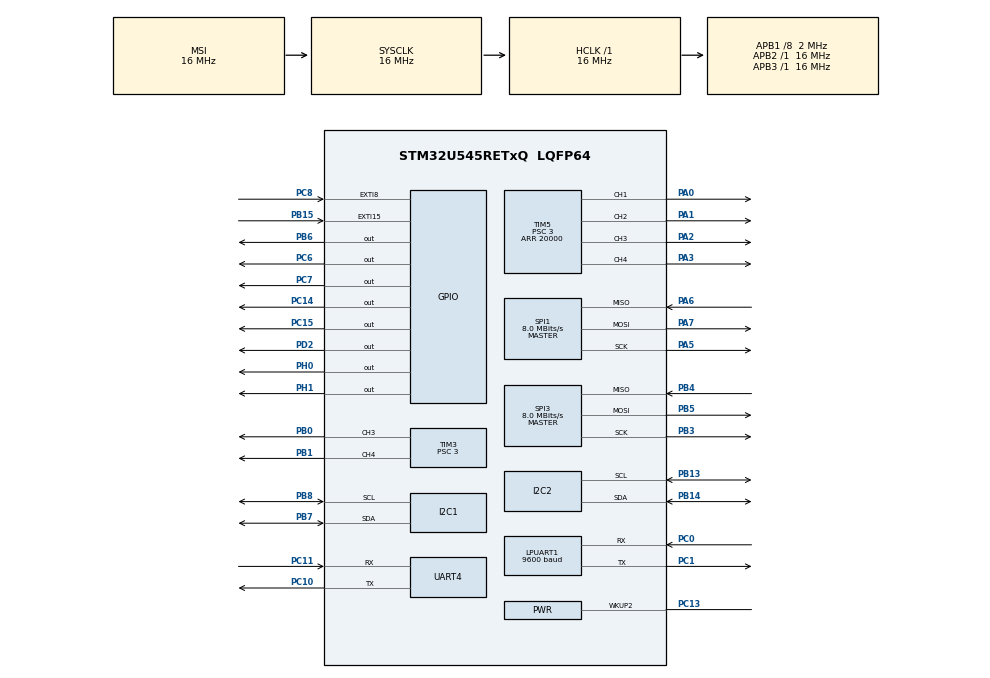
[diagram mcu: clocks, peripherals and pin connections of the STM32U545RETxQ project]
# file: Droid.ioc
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CORTEX_M33_NS.userName=CORTEX_M33
I2C1.Timing=0x00000509
I2C2.Timing=0x00000509
LPUART1.BaudRate=9600
Mcu.Family=STM32U5
Mcu.Name=STM32U545RETxQ
Mcu.Package=LQFP64
NVIC.PriorityGroup=NVIC_PRIORITYGROUP_4
PA0.Signal=S_TIM5_CH1
PA1.Signal=S_TIM5_CH2
PA13\ (JTMS/SWDIO).Mode=Serial_Wire
PA13\ (JTMS/SWDIO).Signal=DEBUG_JTMS-SWDIO
PA14\ (JTCK/SWCLK).Mode=Serial_Wire
PA14\ (JTCK/SWCLK).Signal=DEBUG_JTCK-SWCLK
PA2.Signal=S_TIM5_CH3
PA3.Signal=S_TIM5_CH4
PA5.Mode=Full_Duplex_Master
PA5.Signal=SPI1_SCK
PA6.Mode=Full_Duplex_Master
PA6.Signal=SPI1_MISO
PA7.Mode=Full_Duplex_Master
PA7.Signal=SPI1_MOSI
PB0.Signal=S_TIM3_CH3
PB1.Signal=S_TIM3_CH4
PB13.Mode=I2C
PB13.Signal=I2C2_SCL
PB14.Mode=I2C
PB14.Signal=I2C2_SDA
PB15.Signal=GPXTI15
PB3\ (JTDO/TRACESWO).Mode=Full_Duplex_Master
PB3\ (JTDO/TRACESWO).Signal=SPI3_SCK
PB4\ (NJTRST).Mode=Full_Duplex_Master
PB4\ (NJTRST).Signal=SPI3_MISO
PB5.Mode=Full_Duplex_Master
PB5.Signal=SPI3_MOSI
PB6.GPIO_PuPd=GPIO_PULLUP
PB6.PinState=GPIO_PIN_SET
PB6.Signal=GPIO_Output
PB7.Mode=I2C
PB7.Signal=I2C1_SDA
PB8.Mode=I2C
PB8.Signal=I2C1_SCL
PC0.Mode=Asynchronous
PC0.Signal=LPUART1_RX
PC1.Mode=Asynchronous
PC1.Signal=LPUART1_TX
PC10.Mode=Asynchronous
PC10.Signal=UART4_TX
PC11.Mode=Asynchronous
PC11.Signal=UART4_RX
PC13.Mode=WakeUp2
PC13.Signal=PWR_WKUP2
PC14-OSC32_IN\ (PC14).Signal=GPIO_Output
PC15-OSC32_OUT\ (PC15).Signal=GPIO_Output
PC6.GPIO_PuPd=GPIO_NOPULL
PC6.PinState=GPIO_PIN_RESET
PC6.Signal=GPIO_Output
PC7.GPIO_ModeDefaultOutputPP=GPIO_MODE_OUTPUT_PP
PC7.GPIO_PuPd=GPIO_PULLUP
PC7.PinState=GPIO_PIN_RESET
PC7.Signal=GPIO_Output
PC8.Signal=GPXTI8
PD2.GPIO_PuPd=GPIO_PULLUP
PD2.PinState=GPIO_PIN_SET
PD2.Signal=GPIO_Output
PH0-OSC_IN\ (PH0).Signal=GPIO_Output
PH1-OSC_OUT\ (PH1).Signal=GPIO_Output
PWR.PowerMode=PWR_LDO_SUPPLY
ProjectManager.HeapSize=0x200
ProjectManager.StackSize=0x400
ProjectManager.TargetToolchain=STM32CubeIDE
RCC.ADCFreq_Value=16000000
RCC.AHBFreq_Value=16000000
RCC.APB1CLKDivider=RCC_HCLK_DIV8
RCC.APB1Freq_Value=2000000
RCC.APB1TimFreq_Value=4000000
RCC.APB2Freq_Value=16000000
RCC.APB2TimCLKDivider=2
RCC.APB2TimFreq_Value=32000000
RCC.APB3Freq_Value=16000000
RCC.CortexFreq_Value=16000000
RCC.DACCLockSelectionVirtual=RCC_DAC1CLKSOURCE_LSI
RCC.DACCLockSelectionVirtualString=RCC_DAC1CLKSOURCE_LSI
RCC.EPOD_VALUE=16000000
RCC.HCLKFreq_Value=16000000
RCC.HSE_VALUE=16000000
RCC.HSI48_VALUE=48000000
RCC.HSI_VALUE=16000000
RCC.LSE_VALUE=32768
RCC.LSIDIV_VALUE=32000
RCC.MSIClockRange=RCC_MSIRANGE_2
RCC.MSI_VALUE=16000000
RCC.PLLN=80
RCC.SYSCLKFreq_VALUE=16000000
RCC.USBFreq_Value=48000000
RCC.VCOOutputFreq_Value=1280000000
SH.S_TIM3_CH3.0=TIM3_CH3,PWM Generation3 CH3
SH.S_TIM3_CH4.0=TIM3_CH4,PWM Generation4 CH4
SH.S_TIM5_CH1.0=TIM5_CH1,PWM Generation1 CH1
SH.S_TIM5_CH2.0=TIM5_CH2,PWM Generation2 CH2
SH.S_TIM5_CH3.0=TIM5_CH3,PWM Generation3 CH3
SH.S_TIM5_CH4.0=TIM5_CH4,PWM Generation4 CH4
SPI1.CalculateBaudRate=8.0 MBits/s
SPI1.DataSize=SPI_DATASIZE_8BIT
SPI1.Direction=SPI_DIRECTION_2LINES
SPI1.Mode=SPI_MODE_MASTER
SPI1.VirtualType=VM_MASTER
SPI3.CalculateBaudRate=8.0 MBits/s
SPI3.Direction=SPI_DIRECTION_2LINES
SPI3.Mode=SPI_MODE_MASTER
SPI3.VirtualType=VM_MASTER
TIM3.Channel-PWM\ Generation3\ CH3=TIM_CHANNEL_3
TIM3.Channel-PWM\ Generation4\ CH4=TIM_CHANNEL_4
TIM3.PeriodNoDither=20000
TIM3.Prescaler=3
TIM5.Channel-PWM\ Generation1\ CH1=TIM_CHANNEL_1
TIM5.Channel-PWM\ Generation2\ CH2=TIM_CHANNEL_2
TIM5.Channel-PWM\ Generation3\ CH3=TIM_CHANNEL_3
TIM5.Channel-PWM\ Generation4\ CH4=TIM_CHANNEL_4
TIM5.PeriodNoDither=20000
TIM5.Prescaler=3
VP_LPBAMQUEUE_VS_QUEUE.Mode=QUEUEMODE
VP_LPBAM_VS_SIG1.Mode=SmartRun
VP_LPBAM_VS_SIG4.Mode=LPDMA1
VP_MEMORYMAP_VS_MEMORYMAP.Mode=CurAppReg
VP_PWR_VS_LPOM.Mode=PowerOptimisation
VP_PWR_VS_SECSignals.Mode=Security/Privilege
VP_TIM3_VS_ClockSourceINT.Mode=Internal
VP_TIM5_VS_ClockSourceINT.Mode=Internal
board=custom

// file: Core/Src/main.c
/* USER CODE BEGIN Header */
/**
 ******************************************************************************
 * @file           : main.c
 * @brief          : Main program body
 ******************************************************************************
 * @attention
 *
 * Copyright (c) 2025 STMicroelectronics.
 * All rights reserved.
 *
 * This software is licensed under terms that can be found in the LICENSE file
 * in the root directory of this software component.
 * If no LICENSE file comes with this software, it is provided AS-IS.
 *
 ******************************************************************************
 */
/* USER CODE END Header */
#include "main.h"

/* USER CODE BEGIN Includes */
#include "stdio.h"

// Distance sensor
#include "../../Drivers/BSP/Components/vl53l1x_uld/VL53L1X_api.h"
#include "../../Drivers/BSP/Components/vl53l1x_uld/VL53L1X_calibration.h"

// IMU
#include "math.h"
#include "string.h"
#include "stdio.h"
#include "Accel.h"
#include "Gyro.h"
#include "IMU.h"
#include "Vectors.h"
/* USER CODE END Includes */

/* USER CODE BEGIN PM */
// NOTE: isInterrupt = 1 then device is working in interrupt mode, otherwise it is working in polling mode
#define isInterrupt 0

// NOTE: isInterrupt = 1 then device is working in interrupt mode, otherwise it is working in polling mode
#define isInterrupt 0
#define MAX_FORCE 	2.0f
#define MAX_DUTY	8.0f
#define MIN_DUTY	5.0f
#define ACCEL_DEADZONE  0.1f  // m/s² - tune to reduce drift
#define MIN(a,b) ((a) < (b) ? (a) : (b))
#define MAX(a,b) ((a) > (b) ? (a) : (b))
/* USER CODE END PM */

I2C_HandleTypeDef hi2c1;
I2C_HandleTypeDef hi2c2;

UART_HandleTypeDef hlpuart1;
UART_HandleTypeDef huart4;

SPI_HandleTypeDef hspi1;
SPI_HandleTypeDef hspi3;

TIM_HandleTypeDef htim3;
TIM_HandleTypeDef htim5;

/* USER CODE BEGIN PV */
uint16_t distance2_address = 0x52; // surface mounted distance sensor
uint16_t distance1_address = (0x30 << 1); // external distance sensor
int status = 0;
const int max_CCR = 20000;

uint8_t xb[3];
float KP = 2.0;
float KI = 0.0;
float KD = 0.0;
int recalibrate = 0;
/* USER CODE END PV */

void SystemClock_Config(void);
static void MX_GPIO_Init(void);
static void MX_I2C2_Init(void);
static void MX_LPUART1_UART_Init(void);
static void MX_I2C1_Init(void);
static void MX_UART4_Init(void);
static void MX_SPI1_Init(void);
static void MX_SPI3_Init(void);
static void MX_TIM3_Init(void);
static void MX_TIM5_Init(void);
/* USER CODE BEGIN PFP */
void Error_Handler(void);
// TODO: add these functions!
//void RangingLoop(void); /* */
//void Multizones(void);

float applyAccelDeadzone(float accel, float deadzone) {
	if (fabsf(accel) < deadzone) {
		return 0.0f;
	}
	return accel;
}

void assignMotorValues(float Fx_d, float Fy_d, float *m1, float *m2, float *m3,
		float *m4) {
	*m1 = 0;
	*m2 = 0;
	*m3 = 0;
	*m4 = 0;

	// X-axis control: motors 1,3 vs 2,4
	if (Fx_d > 0) {
		*m1 += fabsf(Fx_d);
		*m3 += fabsf(Fx_d);
	} else {
		*m2 += fabsf(Fx_d);
		*m4 += fabsf(Fx_d);
	}

	// Y-axis control: motors 1,2 vs 3,4
	if (Fy_d > 0) {
		*m1 += fabsf(Fy_d);
		*m2 += fabsf(Fy_d);
	} else {
		*m3 += fabsf(Fy_d);
		*m4 += fabsf(Fy_d);
	}

	// Torque balancing: ensure diagonal pairs produce equal torque
	float T = *m1 + *m4 - *m2 - *m3;
	if (T > 0) {
		// Too much CCW torque, increase m2 and m3
		*m2 += fabsf(T) / 2.0f;
		*m3 += fabsf(T) / 2.0f;
	} else if (T < 0) {
		// Too much CW torque, increase m1 and m4
		*m1 += fabsf(T) / 2.0f;
		*m4 += fabsf(T) / 2.0f;
	}

	// Convert force to duty cycle
	float scale = (MAX_DUTY - MIN_DUTY) / MAX_FORCE;
	*m1 = *m1 * scale + MIN_DUTY;
	*m2 = *m2 * scale + MIN_DUTY;
	*m3 = *m3 * scale + MIN_DUTY;
	*m4 = *m4 * scale + MIN_DUTY;

	// Clamp to valid range
	*m1 = MAX(MIN_DUTY, MIN(*m1, MAX_DUTY));
	*m2 = MAX(MIN_DUTY, MIN(*m2, MAX_DUTY));
	*m3 = MAX(MIN_DUTY, MIN(*m3, MAX_DUTY));
	*m4 = MAX(MIN_DUTY, MIN(*m4, MAX_DUTY));
}

void TIM_SetPWM(float m1, float m2, float m3, float m4) {
	__HAL_TIM_SET_COMPARE(&htim5, TIM_CHANNEL_1, max_CCR * 0.01 * m1);
	__HAL_TIM_SET_COMPARE(&htim5, TIM_CHANNEL_2, max_CCR * 0.01 * m2);
	__HAL_TIM_SET_COMPARE(&htim5, TIM_CHANNEL_3, max_CCR * 0.01 * m3);
	__HAL_TIM_SET_COMPARE(&htim5, TIM_CHANNEL_4, max_CCR * 0.01 * m4);
}
/* USER CODE END PFP */

/* USER CODE BEGIN 0 */
uint8_t err[] = { 'e', 'r', 'r', 'o', 'r', '\n', '\r' };

/* Those basic I2C read functions can be used to check your own I2C functions */
void print_distance_sensor_metadata(uint16_t dev_address) {
	uint8_t byteData;
	uint16_t wordData;
	status = VL53L1_RdByte(dev_address, 0x010F, &byteData);
	printf("VL53L1X Model_ID: %X\n", byteData);
	status = VL53L1_RdByte(dev_address, 0x0110, &byteData);
	printf("VL53L1X Module_Type: %X\n", byteData);
	status = VL53L1_RdWord(dev_address, 0x010F, &wordData);
	printf("VL53L1X: %X\n", wordData);
}

void start_distance_sensor(uint16_t dev_address) {
	uint8_t sensorState = 0;
	while (sensorState == 0) {
		status = VL53L1X_BootState(dev_address, &sensorState);
		HAL_Delay(2);
	}
	printf("Distance sensor with address %d booted\n", dev_address);

	/* This function must to be called to initialize the sensor with the default setting  */
	status = VL53L1X_SensorInit(dev_address);
	/* Optional functions to be used to change the main ranging parameters according the application requirements to get the best ranging performances */
	status = VL53L1X_SetDistanceMode(dev_address, 2); /* 1=short, 2=long */
	status = VL53L1X_SetTimingBudgetInMs(dev_address, 100); /* in ms possible values [20, 50, 100, 200, 500] */
	status = VL53L1X_SetInterMeasurementInMs(dev_address, 100); /* in ms, IM must be > = TB */
	status = VL53L1X_SetInterruptPolarity(dev_address, 0); //This function programs the interrupt polarity, 1 = active high (default), 0 = active low.
	//  status = VL53L1X_SetOffset(dev_address,20); /* offset compensation in mm */
	//  status = VL53L1X_SetROI(dev_address, 16, 16); /* minimum ROI 4,4 */

	//	status = VL53L1X_CalibrateOffset(dev_address, 140, &offset); /* may take few second to perform the offset cal*/
	//  printf("VL53L1X_CalibrateOffset=%d\n", offset);
	//  status = VL53L1X_CalibrateXtalk(dev_address, 1000, &xtalk); /* may take few second to perform the xtalk cal */
	//  printf("VL53L1X_CalibrateXtalk=%d\n", xtalk/512);
	printf("VL53L1X Ultra Lite Driver Example running ...\n");

	status = VL53L1X_StartRanging(dev_address); /* This function has to be called to enable the ranging */
//	END OF DISTANCE SENSOR SETUP
}

/* USER CODE END 0 */

int main(void) {

	/* USER CODE BEGIN 1 */
	uint16_t Distance;
	uint8_t RangeStatus;
	uint8_t dataReady = 0;
	uint16_t timeout_counter = 0;
	/* USER CODE END 1 */

	/* MCU Configuration--------------------------------------------------------*/

	/* Reset of all peripherals, Initializes the Flash interface and the Systick. */
	HAL_Init();

	/* Configure the system clock */
	SystemClock_Config();

	/* Initialize all configured peripherals */
	MX_GPIO_Init();
	MX_I2C2_Init();
	MX_LPUART1_UART_Init();
	MX_I2C1_Init();
	MX_UART4_Init();
	MX_SPI1_Init();
	MX_SPI3_Init();
	MX_TIM3_Init();
	MX_TIM5_Init();

	/* USER CODE BEGIN 2 */

	//  Setup the servos
	__HAL_TIM_SET_COMPARE(&htim3, TIM_CHANNEL_3, max_CCR * 0.03);
	__HAL_TIM_SET_COMPARE(&htim3, TIM_CHANNEL_4, max_CCR * 0.03);

	HAL_TIM_PWM_Start(&htim3, TIM_CHANNEL_3);
	HAL_TIM_PWM_Start(&htim3, TIM_CHANNEL_4);

	// Arm the ESC (send low signal)
	__HAL_TIM_SET_COMPARE(&htim5, TIM_CHANNEL_1, max_CCR * 0.05);
	__HAL_TIM_SET_COMPARE(&htim5, TIM_CHANNEL_2, max_CCR * 0.05);
	__HAL_TIM_SET_COMPARE(&htim5, TIM_CHANNEL_3, max_CCR * 0.05);
	__HAL_TIM_SET_COMPARE(&htim5, TIM_CHANNEL_4, max_CCR * 0.05);

	HAL_TIM_PWM_Start(&htim5, TIM_CHANNEL_1);
	HAL_TIM_PWM_Start(&htim5, TIM_CHANNEL_2);
	HAL_TIM_PWM_Start(&htim5, TIM_CHANNEL_3);
	HAL_TIM_PWM_Start(&htim5, TIM_CHANNEL_4);
	HAL_Delay(5000);

//	START OF IMU SETUP
	IMU_INIT(&hspi3);
	IMU_SETUP_FOR_LOGGING();
	IMU_ENABLE_ALL();

	HAL_Delay(3000);

	int imuready = IMU_READY();
	while (imuready != 1) {
		imuready = IMU_READY();
//		HAL_UART_Transmit(&hlpuart1, err, 7, 1000);
		HAL_Delay(5000);
	}

	struct Vector3 xyz_a;
	struct Vector3 xyz_v;
	xyz_v.x = 0;
	xyz_v.y = 0;
	xyz_v.z = 0;
	struct Vector3 xyz_p;
	xyz_p.x = 0;
	xyz_p.y = 0;
	xyz_p.z = 0;

	struct Vector3 rpy_v;
	struct Vector3 rpy_p;
	rpy_p.x = 0;
	rpy_p.y = 0;
	rpy_p.z = 0;

	struct Vector3 xyz_ground;
	xyz_ground.x = 0;
	xyz_ground.y = 0;
	xyz_ground.z = 0;

//	Calibrate ground reference (should 9.81 m/s^2 in Z when stationary)
	for (int i = 0; i < 5; i++) {
		xyz_a = ACCEL_READ_ACCELERATION();
		xyz_ground.x += xyz_a.x / 5;
		xyz_ground.y += xyz_a.y / 5;
		xyz_ground.z += xyz_a.z / 5;
		HAL_Delay(5);
	}

	float cr, sr, cp, sp, cy, sy;
	float aX, aY, aZ;

	float error_x = 0;
	float error_y = 0;
	float prev_accel_x = 0;
	float prev_accel_y = 0;
	float Fx_d, Fy_d;
	float m1, m2, m3, m4;

	uint32_t lastIMU = HAL_GetTick();
	uint32_t lastDist = HAL_GetTick();
	HAL_UART_Receive_IT(&hlpuart1, &xb, 3);
//  END OF IMU SETUP

//	  START OF DISTANCE SENSOR SETUP
//    Start up the external distance sensor with a different I2C address
	HAL_GPIO_WritePin(GPIOC, GPIO_PIN_6, GPIO_PIN_SET);
	status = VL53L1_WrByte(0x52, 0x0001, 0x30);
	//	start up secondary/surface mounted distance sensor with the default I2C address
	HAL_GPIO_WritePin(GPIOC, GPIO_PIN_7, GPIO_PIN_SET);
//	print_distance_sensor_metadata(distance1_address);
//	print_distance_sensor_metadata(distance2_address);
	start_distance_sensor(distance1_address);
	start_distance_sensor(distance2_address);
	/* USER CODE END 2 */

	/* Infinite loop */
	while (1) {

		/* USER CODE BEGIN 3 */
		uint32_t now = HAL_GetTick();

		//		uint32_t now = HAL_GetTick();
		//		if (recalibrate) {
		//			xyz_ground.x = 0;
		//			xyz_ground.y = 0;
		//			xyz_ground.z = 0;
		//			for (int i = 0; i < 5; i++) {
		//				xyz_a = ACCEL_READ_ACCELERATION();
		//				xyz_ground.x += xyz_a.x / 5.0f;
		//				xyz_ground.y += xyz_a.y / 5.0f;
		//				xyz_ground.z += xyz_a.z / 5.0f;
		//				HAL_Delay(5);
		//			}
		//			recalibrate = 0;
		//		}
		//		//		START OF DISTANCE SENSOR READ
		////		if ((now - lastDist) >= 1000) {
		////			lastDist = now;
		////			while (dataReady == 0) {
		////
		////				status = VL53L1X_CheckForDataReady(dev, &dataReady);
		////				timeout_counter++;
		////				if (timeout_counter >= 1000) {
		////					status = (uint8_t) VL53L1X_ERROR_TIMEOUT;
		////					//			  printf("No data ready for long time, please check your system\n");
		////					char buffer[3] = { 'e', 'r', '\n' };
		////					HAL_UART_Transmit(&hlpuart1, &buffer, 3, 0xFFFF);
		////					timeout_counter = 0;
		////				}
		////				status = VL53L1_WaitMs(dev, 1);
		////			}
		////			dataReady = 0;
		////			timeout_counter = 0;
		////
		////			status = VL53L1X_GetRangeStatus(dev, &RangeStatus);
		////			status = VL53L1X_GetDistance(dev, &Distance);
		////			status = VL53L1X_GetSignalRate(dev, &SignalRate);
		////			status = VL53L1X_GetAmbientRate(dev, &AmbientRate);
		////			status = VL53L1X_GetSpadNb(dev, &SpadNum);
		////			status = VL53L1X_ClearInterrupt(dev); /* clear interrupt has to be called to enable next interrupt*/
		////			uint8_t dist[3] = { 'A', (Distance >> 8), Distance & 0xFF };
		////			// char dist[50];
		////			// sprintf(dist, "A, %u \n",Distance);
		////			//		printf("Range status: %u, Distance: %u mm\n", RangeStatus, Distance);
		////			// HAL_UART_Transmit(&hlpuart1, dist, strlen(dist), 0xFFFF);
		////			HAL_UART_Transmit(&hlpuart1, dist, 3, 0xFFFF);
		////		}
		//		//		END OF DISTANCE SENSOR READ
		//
		//		//		START OF IMU READ
		//		float dt = (now - lastIMU) / 1000.0f;
		//		lastIMU = now;
		//
		//		// Read sensor data
		//		xyz_a = ACCEL_READ_ACCELERATION();
		//
		//		// Remove ground reference bias
		//		xyz_a = vSub(xyz_a, xyz_ground);
		//
		//		// Apply deadzone to accelerations (in droid frame)
		//		float accel_x = applyAccelDeadzone(xyz_a.x, ACCEL_DEADZONE);
		//		float accel_y = applyAccelDeadzone(xyz_a.y, ACCEL_DEADZONE);
		//
		//		// Accumulate error for integral term
		//		error_x += accel_x * dt;
		//		error_y += accel_y * dt;
		//
		//		// Calculate derivative of acceleration (jerk)
		//		float accel_dot_x = (accel_x - prev_accel_x) / dt;
		//		float accel_dot_y = (accel_y - prev_accel_y) / dt;
		//		prev_accel_x = accel_x;
		//		prev_accel_y = accel_y;
		//
		//		// PID control: directly counteract acceleration in droid frame
		//		// Negative sign because we want to oppose the acceleration
		//		Fx_d = -(KP * accel_x + KI * error_x + KD * accel_dot_x);
		//		Fy_d = -(KP * accel_y + KI * error_y + KD * accel_dot_y);
		//
		//		// Clamp forces to maximum
		//		float F_total = sqrtf(Fx_d * Fx_d + Fy_d * Fy_d);
		//		if (F_total > MAX_FORCE) {
		//			float scale = MAX_FORCE / F_total;
		//			Fx_d *= scale;
		//			Fy_d *= scale;
		//		}
		//
		//		// Assign motor values and set PWM
		//		assignMotorValues(Fx_d, Fy_d, &m1, &m2, &m3, &m4);
		//		TIM_SetPWM(m1, m2, m3, m4);
		//
		//		//		END OF IMU READ
		//
		//		HAL_Delay(5);
		TIM_SetPWM(5.5, 5.5, 5.5, 5.5);  // Constant low throttle
		HAL_Delay(10);
//		END OF IMU READ

	}
	/* USER CODE END 3 */
}

void SystemClock_Config(void) {
	RCC_OscInitTypeDef RCC_OscInitStruct = { 0 };
	RCC_ClkInitTypeDef RCC_ClkInitStruct = { 0 };

	/** Configure the main internal regulator output voltage
	 */
	if (HAL_PWREx_ControlVoltageScaling(PWR_REGULATOR_VOLTAGE_SCALE4)
			!= HAL_OK) {
		Error_Handler();
	}

	/** Initializes the CPU, AHB and APB buses clocks
	 */
	RCC_OscInitStruct.OscillatorType = RCC_OSCILLATORTYPE_MSI;
	RCC_OscInitStruct.MSIState = RCC_MSI_ON;
	RCC_OscInitStruct.MSICalibrationValue = RCC_MSICALIBRATION_DEFAULT;
	RCC_OscInitStruct.MSIClockRange = RCC_MSIRANGE_2;
	RCC_OscInitStruct.PLL.PLLState = RCC_PLL_NONE;
	if (HAL_RCC_OscConfig(&RCC_OscInitStruct) != HAL_OK) {
		Error_Handler();
	}

	/** Initializes the CPU, AHB and APB buses clocks
	 */
	RCC_ClkInitStruct.ClockType = RCC_CLOCKTYPE_HCLK | RCC_CLOCKTYPE_SYSCLK
			| RCC_CLOCKTYPE_PCLK1 | RCC_CLOCKTYPE_PCLK2 | RCC_CLOCKTYPE_PCLK3;
	RCC_ClkInitStruct.SYSCLKSource = RCC_SYSCLKSOURCE_MSI;
	RCC_ClkInitStruct.AHBCLKDivider = RCC_SYSCLK_DIV1;
	RCC_ClkInitStruct.APB1CLKDivider = RCC_HCLK_DIV8;
	RCC_ClkInitStruct.APB2CLKDivider = RCC_HCLK_DIV1;
	RCC_ClkInitStruct.APB3CLKDivider = RCC_HCLK_DIV1;

	if (HAL_RCC_ClockConfig(&RCC_ClkInitStruct, FLASH_LATENCY_1) != HAL_OK) {
		Error_Handler();
	}
}

static void MX_I2C1_Init(void) {

	hi2c1.Instance = I2C1;
	hi2c1.Init.Timing = 0x00000509;
	hi2c1.Init.OwnAddress1 = 0;
	hi2c1.Init.AddressingMode = I2C_ADDRESSINGMODE_7BIT;
	hi2c1.Init.DualAddressMode = I2C_DUALADDRESS_DISABLE;
	hi2c1.Init.OwnAddress2 = 0;
	hi2c1.Init.OwnAddress2Masks = I2C_OA2_NOMASK;
	hi2c1.Init.GeneralCallMode = I2C_GENERALCALL_DISABLE;
	hi2c1.Init.NoStretchMode = I2C_NOSTRETCH_DISABLE;
	if (HAL_I2C_Init(&hi2c1) != HAL_OK) {
		Error_Handler();
	}

	/** Configure Analogue filter
	 */
	if (HAL_I2CEx_ConfigAnalogFilter(&hi2c1, I2C_ANALOGFILTER_ENABLE)
			!= HAL_OK) {
		Error_Handler();
	}

	/** Configure Digital filter
	 */
	if (HAL_I2CEx_ConfigDigitalFilter(&hi2c1, 0) != HAL_OK) {
		Error_Handler();
	}

}

static void MX_I2C2_Init(void) {

	hi2c2.Instance = I2C2;
	hi2c2.Init.Timing = 0x00000509;
	hi2c2.Init.OwnAddress1 = 0;
	hi2c2.Init.AddressingMode = I2C_ADDRESSINGMODE_7BIT;
	hi2c2.Init.DualAddressMode = I2C_DUALADDRESS_DISABLE;
	hi2c2.Init.OwnAddress2 = 0;
	hi2c2.Init.OwnAddress2Masks = I2C_OA2_NOMASK;
	hi2c2.Init.GeneralCallMode = I2C_GENERALCALL_DISABLE;
	hi2c2.Init.NoStretchMode = I2C_NOSTRETCH_DISABLE;
	if (HAL_I2C_Init(&hi2c2) != HAL_OK) {
		Error_Handler();
	}

	/** Configure Analogue filter
	 */
	if (HAL_I2CEx_ConfigAnalogFilter(&hi2c2, I2C_ANALOGFILTER_ENABLE)
			!= HAL_OK) {
		Error_Handler();
	}

	/** Configure Digital filter
	 */
	if (HAL_I2CEx_ConfigDigitalFilter(&hi2c2, 0) != HAL_OK) {
		Error_Handler();
	}

}

static void MX_LPUART1_UART_Init(void) {

	hlpuart1.Instance = LPUART1;
	hlpuart1.Init.BaudRate = 9600;
	hlpuart1.Init.WordLength = UART_WORDLENGTH_8B;
	hlpuart1.Init.StopBits = UART_STOPBITS_1;
	hlpuart1.Init.Parity = UART_PARITY_NONE;
	hlpuart1.Init.Mode = UART_MODE_TX_RX;
	hlpuart1.Init.HwFlowCtl = UART_HWCONTROL_NONE;
	hlpuart1.Init.OneBitSampling = UART_ONE_BIT_SAMPLE_DISABLE;
	hlpuart1.AdvancedInit.AdvFeatureInit = UART_ADVFEATURE_NO_INIT;
	hlpuart1.FifoMode = UART_FIFOMODE_DISABLE;
	if (HAL_UART_Init(&hlpuart1) != HAL_OK) {
		Error_Handler();
	}
	if (HAL_UARTEx_SetTxFifoThreshold(&hlpuart1, UART_TXFIFO_THRESHOLD_1_8)
			!= HAL_OK) {
		Error_Handler();
	}
	if (HAL_UARTEx_SetRxFifoThreshold(&hlpuart1, UART_RXFIFO_THRESHOLD_1_8)
			!= HAL_OK) {
		Error_Handler();
	}
	if (HAL_UARTEx_DisableFifoMode(&hlpuart1) != HAL_OK) {
		Error_Handler();
	}

}

static void MX_UART4_Init(void) {

	huart4.Instance = UART4;
	huart4.Init.BaudRate = 115200;
	huart4.Init.WordLength = UART_WORDLENGTH_8B;
	huart4.Init.StopBits = UART_STOPBITS_1;
	huart4.Init.Parity = UART_PARITY_NONE;
	huart4.Init.Mode = UART_MODE_TX_RX;
	huart4.Init.HwFlowCtl = UART_HWCONTROL_NONE;
	huart4.Init.OverSampling = UART_OVERSAMPLING_16;
	huart4.Init.OneBitSampling = UART_ONE_BIT_SAMPLE_DISABLE;
	huart4.Init.ClockPrescaler = UART_PRESCALER_DIV1;
	huart4.AdvancedInit.AdvFeatureInit = UART_ADVFEATURE_NO_INIT;
	if (HAL_UART_Init(&huart4) != HAL_OK) {
		Error_Handler();
	}
	if (HAL_UARTEx_SetTxFifoThreshold(&huart4, UART_TXFIFO_THRESHOLD_1_8)
			!= HAL_OK) {
		Error_Handler();
	}
	if (HAL_UARTEx_SetRxFifoThreshold(&huart4, UART_RXFIFO_THRESHOLD_1_8)
			!= HAL_OK) {
		Error_Handler();
	}
	if (HAL_UARTEx_DisableFifoMode(&huart4) != HAL_OK) {
		Error_Handler();
	}

}

static void MX_SPI1_Init(void) {

	SPI_AutonomousModeConfTypeDef HAL_SPI_AutonomousMode_Cfg_Struct = { 0 };

	/* SPI1 parameter configuration*/
	hspi1.Instance = SPI1;
	hspi1.Init.Mode = SPI_MODE_MASTER;
	hspi1.Init.Direction = SPI_DIRECTION_2LINES;
	hspi1.Init.DataSize = SPI_DATASIZE_8BIT;
	hspi1.Init.CLKPolarity = SPI_POLARITY_LOW;
	hspi1.Init.CLKPhase = SPI_PHASE_1EDGE;
	hspi1.Init.NSS = SPI_NSS_SOFT;
	hspi1.Init.BaudRatePrescaler = SPI_BAUDRATEPRESCALER_2;
	hspi1.Init.FirstBit = SPI_FIRSTBIT_MSB;
	hspi1.Init.TIMode = SPI_TIMODE_DISABLE;
	hspi1.Init.CRCCalculation = SPI_CRCCALCULATION_DISABLE;
	hspi1.Init.CRCPolynomial = 0x7;
	hspi1.Init.NSSPMode = SPI_NSS_PULSE_ENABLE;
	hspi1.Init.NSSPolarity = SPI_NSS_POLARITY_LOW;
	hspi1.Init.FifoThreshold = SPI_FIFO_THRESHOLD_01DATA;
	hspi1.Init.MasterSSIdleness = SPI_MASTER_SS_IDLENESS_00CYCLE;
	hspi1.Init.MasterInterDataIdleness = SPI_MASTER_INTERDATA_IDLENESS_00CYCLE;
	hspi1.Init.MasterReceiverAutoSusp = SPI_MASTER_RX_AUTOSUSP_DISABLE;
	hspi1.Init.MasterKeepIOState = SPI_MASTER_KEEP_IO_STATE_DISABLE;
	hspi1.Init.IOSwap = SPI_IO_SWAP_DISABLE;
	hspi1.Init.ReadyMasterManagement = SPI_RDY_MASTER_MANAGEMENT_INTERNALLY;
	hspi1.Init.ReadyPolarity = SPI_RDY_POLARITY_HIGH;
	if (HAL_SPI_Init(&hspi1) != HAL_OK) {
		Error_Handler();
	}
	HAL_SPI_AutonomousMode_Cfg_Struct.TriggerState = SPI_AUTO_MODE_DISABLE;
	HAL_SPI_AutonomousMode_Cfg_Struct.TriggerSelection =
	SPI_GRP1_GPDMA_CH0_TCF_TRG;
	HAL_SPI_AutonomousMode_Cfg_Struct.TriggerPolarity =
	SPI_TRIG_POLARITY_RISING;
	if (HAL_SPIEx_SetConfigAutonomousMode(&hspi1,
			&HAL_SPI_AutonomousMode_Cfg_Struct) != HAL_OK) {
		Error_Handler();
	}

}

static void MX_SPI3_Init(void) {

	SPI_AutonomousModeConfTypeDef HAL_SPI_AutonomousMode_Cfg_Struct = { 0 };

	/* SPI3 parameter configuration*/
	hspi3.Instance = SPI3;
	hspi3.Init.Mode = SPI_MODE_MASTER;
	hspi3.Init.Direction = SPI_DIRECTION_2LINES;
	hspi3.Init.DataSize = SPI_DATASIZE_8BIT;
	hspi3.Init.CLKPolarity = SPI_POLARITY_LOW;
	hspi3.Init.CLKPhase = SPI_PHASE_1EDGE;
	hspi3.Init.NSS = SPI_NSS_SOFT;
	hspi3.Init.BaudRatePrescaler = SPI_BAUDRATEPRESCALER_2;
	hspi3.Init.FirstBit = SPI_FIRSTBIT_MSB;
	hspi3.Init.TIMode = SPI_TIMODE_DISABLE;
	hspi3.Init.CRCCalculation = SPI_CRCCALCULATION_DISABLE;
	hspi3.Init.CRCPolynomial = 0x7;
	hspi3.Init.NSSPMode = SPI_NSS_PULSE_ENABLE;
	hspi3.Init.NSSPolarity = SPI_NSS_POLARITY_LOW;
	hspi3.Init.FifoThreshold = SPI_FIFO_THRESHOLD_01DATA;
	hspi3.Init.MasterSSIdleness = SPI_MASTER_SS_IDLENESS_00CYCLE;
	hspi3.Init.MasterInterDataIdleness = SPI_MASTER_INTERDATA_IDLENESS_00CYCLE;
	hspi3.Init.MasterReceiverAutoSusp = SPI_MASTER_RX_AUTOSUSP_DISABLE;
	hspi3.Init.MasterKeepIOState = SPI_MASTER_KEEP_IO_STATE_DISABLE;
	hspi3.Init.IOSwap = SPI_IO_SWAP_DISABLE;
	hspi3.Init.ReadyMasterManagement = SPI_RDY_MASTER_MANAGEMENT_INTERNALLY;
	hspi3.Init.ReadyPolarity = SPI_RDY_POLARITY_HIGH;
	if (HAL_SPI_Init(&hspi3) != HAL_OK) {
		Error_Handler();
	}
	HAL_SPI_AutonomousMode_Cfg_Struct.TriggerState = SPI_AUTO_MODE_DISABLE;
	HAL_SPI_AutonomousMode_Cfg_Struct.TriggerSelection =
	SPI_GRP2_LPDMA_CH0_TCF_TRG;
	HAL_SPI_AutonomousMode_Cfg_Struct.TriggerPolarity =
	SPI_TRIG_POLARITY_RISING;
	if (HAL_SPIEx_SetConfigAutonomousMode(&hspi3,
			&HAL_SPI_AutonomousMode_Cfg_Struct) != HAL_OK) {
		Error_Handler();
	}

}

static void MX_TIM3_Init(void) {

	TIM_ClockConfigTypeDef sClockSourceConfig = { 0 };
	TIM_MasterConfigTypeDef sMasterConfig = { 0 };
	TIM_OC_InitTypeDef sConfigOC = { 0 };

	htim3.Instance = TIM3;
	htim3.Init.Prescaler = 3;
	htim3.Init.CounterMode = TIM_COUNTERMODE_UP;
	htim3.Init.Period = 20000;
	htim3.Init.ClockDivision = TIM_CLOCKDIVISION_DIV1;
	htim3.Init.AutoReloadPreload = TIM_AUTORELOAD_PRELOAD_DISABLE;
	if (HAL_TIM_Base_Init(&htim3) != HAL_OK) {
		Error_Handler();
	}
	sClockSourceConfig.ClockSource = TIM_CLOCKSOURCE_INTERNAL;
	if (HAL_TIM_ConfigClockSource(&htim3, &sClockSourceConfig) != HAL_OK) {
		Error_Handler();
	}
	if (HAL_TIM_PWM_Init(&htim3) != HAL_OK) {
		Error_Handler();
	}
	sMasterConfig.MasterOutputTrigger = TIM_TRGO_RESET;
	sMasterConfig.MasterSlaveMode = TIM_MASTERSLAVEMODE_DISABLE;
	if (HAL_TIMEx_MasterConfigSynchronization(&htim3, &sMasterConfig)
			!= HAL_OK) {
		Error_Handler();
	}
	sConfigOC.OCMode = TIM_OCMODE_PWM1;
	sConfigOC.Pulse = 0;
	sConfigOC.OCPolarity = TIM_OCPOLARITY_HIGH;
	sConfigOC.OCFastMode = TIM_OCFAST_DISABLE;
	if (HAL_TIM_PWM_ConfigChannel(&htim3, &sConfigOC, TIM_CHANNEL_3)
			!= HAL_OK) {
		Error_Handler();
	}
	if (HAL_TIM_PWM_ConfigChannel(&htim3, &sConfigOC, TIM_CHANNEL_4)
			!= HAL_OK) {
		Error_Handler();
	}
	HAL_TIM_MspPostInit(&htim3);

}

static void MX_TIM5_Init(void) {

	TIM_ClockConfigTypeDef sClockSourceConfig = { 0 };
	TIM_MasterConfigTypeDef sMasterConfig = { 0 };
	TIM_OC_InitTypeDef sConfigOC = { 0 };

	htim5.Instance = TIM5;
	htim5.Init.Prescaler = 3;
	htim5.Init.CounterMode = TIM_COUNTERMODE_UP;
	htim5.Init.Period = 20000;
	htim5.Init.ClockDivision = TIM_CLOCKDIVISION_DIV1;
	htim5.Init.AutoReloadPreload = TIM_AUTORELOAD_PRELOAD_DISABLE;
	if (HAL_TIM_Base_Init(&htim5) != HAL_OK) {
		Error_Handler();
	}
	sClockSourceConfig.ClockSource = TIM_CLOCKSOURCE_INTERNAL;
	if (HAL_TIM_ConfigClockSource(&htim5, &sClockSourceConfig) != HAL_OK) {
		Error_Handler();
	}
	if (HAL_TIM_PWM_Init(&htim5) != HAL_OK) {
		Error_Handler();
	}
	sMasterConfig.MasterOutputTrigger = TIM_TRGO_RESET;
	sMasterConfig.MasterSlaveMode = TIM_MASTERSLAVEMODE_DISABLE;
	if (HAL_TIMEx_MasterConfigSynchronization(&htim5, &sMasterConfig)
			!= HAL_OK) {
		Error_Handler();
	}
	sConfigOC.OCMode = TIM_OCMODE_PWM1;
	sConfigOC.Pulse = 0;
	sConfigOC.OCPolarity = TIM_OCPOLARITY_HIGH;
	sConfigOC.OCFastMode = TIM_OCFAST_DISABLE;
	if (HAL_TIM_PWM_ConfigChannel(&htim5, &sConfigOC, TIM_CHANNEL_1)
			!= HAL_OK) {
		Error_Handler();
	}
	if (HAL_TIM_PWM_ConfigChannel(&htim5, &sConfigOC, TIM_CHANNEL_2)
			!= HAL_OK) {
		Error_Handler();
	}
	if (HAL_TIM_PWM_ConfigChannel(&htim5, &sConfigOC, TIM_CHANNEL_3)
			!= HAL_OK) {
		Error_Handler();
	}
	if (HAL_TIM_PWM_ConfigChannel(&htim5, &sConfigOC, TIM_CHANNEL_4)
			!= HAL_OK) {
		Error_Handler();
	}
	HAL_TIM_MspPostInit(&htim5);

}

static void MX_GPIO_Init(void) {
	GPIO_InitTypeDef GPIO_InitStruct = { 0 };

	/* GPIO Ports Clock Enable */
	__HAL_RCC_GPIOC_CLK_ENABLE();
	__HAL_RCC_GPIOH_CLK_ENABLE();
	__HAL_RCC_GPIOA_CLK_ENABLE();
	__HAL_RCC_GPIOB_CLK_ENABLE();
	__HAL_RCC_GPIOD_CLK_ENABLE();

	/*Configure GPIO pin Output Level */
	HAL_GPIO_WritePin(GPIOC,
	GPIO_PIN_14 | GPIO_PIN_15 | GPIO_PIN_6 | GPIO_PIN_7, GPIO_PIN_RESET);

	/*Configure GPIO pin Output Level */
	HAL_GPIO_WritePin(GPIOH, GPIO_PIN_0 | GPIO_PIN_1, GPIO_PIN_RESET);

	/*Configure GPIO pin Output Level */
	HAL_GPIO_WritePin(GPIOD, GPIO_PIN_2, GPIO_PIN_SET);

	/*Configure GPIO pin Output Level */
	HAL_GPIO_WritePin(GPIOB, GPIO_PIN_6, GPIO_PIN_SET);

	/*Configure GPIO pins : PC14 PC15 PC6 */
	GPIO_InitStruct.Pin = GPIO_PIN_14 | GPIO_PIN_15 | GPIO_PIN_6;
	GPIO_InitStruct.Mode = GPIO_MODE_OUTPUT_PP;
	GPIO_InitStruct.Pull = GPIO_NOPULL;
	GPIO_InitStruct.Speed = GPIO_SPEED_FREQ_LOW;
	HAL_GPIO_Init(GPIOC, &GPIO_InitStruct);

	/*Configure GPIO pins : PH0 PH1 */
	GPIO_InitStruct.Pin = GPIO_PIN_0 | GPIO_PIN_1;
	GPIO_InitStruct.Mode = GPIO_MODE_OUTPUT_PP;
	GPIO_InitStruct.Pull = GPIO_NOPULL;
	GPIO_InitStruct.Speed = GPIO_SPEED_FREQ_LOW;
	HAL_GPIO_Init(GPIOH, &GPIO_InitStruct);

	/*Configure GPIO pin : PB15 */
	GPIO_InitStruct.Pin = GPIO_PIN_15;
	GPIO_InitStruct.Mode = GPIO_MODE_IT_RISING;
	GPIO_InitStruct.Pull = GPIO_NOPULL;
	HAL_GPIO_Init(GPIOB, &GPIO_InitStruct);

	/*Configure GPIO pin : PC7 */
	GPIO_InitStruct.Pin = GPIO_PIN_7;
	GPIO_InitStruct.Mode = GPIO_MODE_OUTPUT_PP;
	GPIO_InitStruct.Pull = GPIO_PULLUP;
	GPIO_InitStruct.Speed = GPIO_SPEED_FREQ_LOW;
	HAL_GPIO_Init(GPIOC, &GPIO_InitStruct);

	/*Configure GPIO pin : PC8 */
	GPIO_InitStruct.Pin = GPIO_PIN_8;
	GPIO_InitStruct.Mode = GPIO_MODE_IT_RISING;
	GPIO_InitStruct.Pull = GPIO_NOPULL;
	HAL_GPIO_Init(GPIOC, &GPIO_InitStruct);

	/*Configure GPIO pin : PD2 */
	GPIO_InitStruct.Pin = GPIO_PIN_2;
	GPIO_InitStruct.Mode = GPIO_MODE_OUTPUT_PP;
	GPIO_InitStruct.Pull = GPIO_PULLUP;
	GPIO_InitStruct.Speed = GPIO_SPEED_FREQ_LOW;
	HAL_GPIO_Init(GPIOD, &GPIO_InitStruct);

	/*Configure GPIO pin : PB6 */
	GPIO_InitStruct.Pin = GPIO_PIN_6;
	GPIO_InitStruct.Mode = GPIO_MODE_OUTPUT_PP;
	GPIO_InitStruct.Pull = GPIO_PULLUP;
	GPIO_InitStruct.Speed = GPIO_SPEED_FREQ_LOW;
	HAL_GPIO_Init(GPIOB, &GPIO_InitStruct);

}

/* USER CODE BEGIN 4 */

void HAL_UART_RxCpltCallback(UART_HandleTypeDef *huart) {
	if (huart->Instance == LPUART1) {
		if (xb[0] == 'C') { // PID tuning
			int dir = (xb[1]) & 1;
			if (xb[2] == 'P') {
				if (dir) {
					KP += 0.1;
				} else {
					KP -= 0.1;
				}
			} else if (xb[1] == 'I') {
				if (dir) {
					KI += 0.01;
				} else {
					KI -= 0.01;
				}
			} else if (xb[1] == 'D') {
				if (dir) {
					KD += 0.01;
				} else {
					KI -= 0.01;
				}
			}
		} else if (xb[0] == 'D') {
			recalibrate = 1;
		}

		// Re-enable interrupt for next character
		HAL_UART_Receive_IT(&hlpuart1, &xb, 3);
	}
}

#ifdef __GNUC__
#define PUTCHAR_PROTOTYPE int __io_putchar(int ch)
#else
#define PUTCHAR_PROTOTYPE int fputc(int ch, FILE *f)
#endif /* __GNUC__ */
PUTCHAR_PROTOTYPE {
	HAL_UART_Transmit(&hlpuart1, (uint8_t*) &ch, 1, 0xFFFF);
	return ch;
}

/* USER CODE END 4 */

void Error_Handler(void) {
	__disable_irq();
	while (1) {
	}
}
